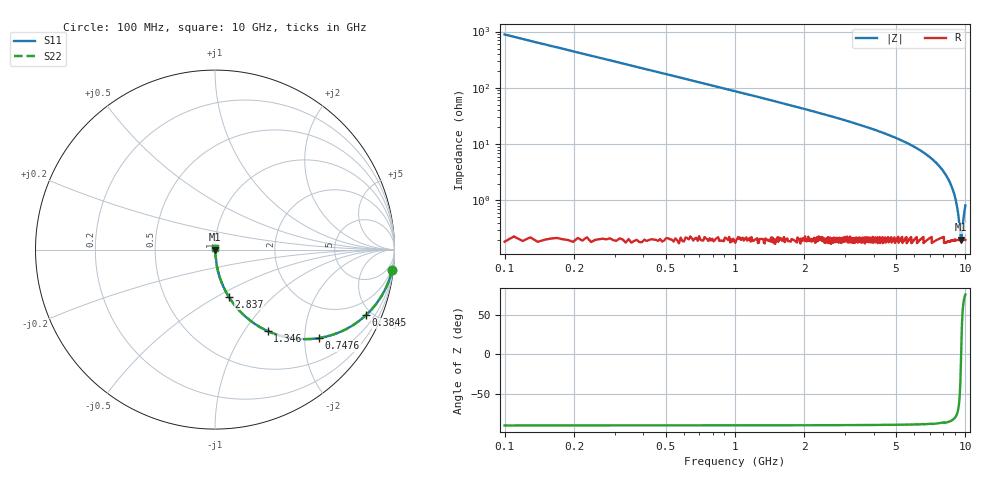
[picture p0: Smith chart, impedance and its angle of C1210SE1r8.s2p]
! AVX Thin Film Operation		Date: April 2012
! Description: Accu-P® Series, Thin Film, SMD, RF Capacitor
! Part Number: 12101J1R8PBTTR
!	100	MHz	-	10.05	GHz
!	Serial	Measurements
#	MHZ	S	MA	R	50
!	S11	S21	S12	S22
!	dB	Phase	dB	Phase	dB	Phase	dB	Phase
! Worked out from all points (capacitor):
!   1010 points, 100 MHz to 10 GHz, reference 50 ohm
!   read as one part in series: C = 1.8 pF near 149.1 MHz
!   lowest |Z| = 200 mohm at 9.578 GHz (marker M1)
!   series resonance near 9.581 GHz, so ESL is about 150 pH
!   S11 on the Smith chart (normalised r, x): 100 MHz: 1, -18; 384.5 MHz: 1.00, -4.59; 747.6 MHz: 1.00, -2.35; 1.346 GHz: 1.00, -1.29; 2.837 GHz: 1.00, -0.57; 10 GHz: 1.00, +0.02
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100  0.994 -6.5  0.112 83.5  0.112 83.5  0.994 -6.5
237.364  0.966 -15.0  0.259 74.9  0.259 74.9  0.966 -15.0
384.539  0.917 -23.5  0.399 66.4  0.399 66.4  0.917 -23.5
551.338  0.847 -32.0  0.53 57.9  0.53 57.9  0.847 -32.0
747.572  0.761 -40.3  0.647 49.6  0.647 49.6  0.761 -40.3
1032.111  0.645 -49.7  0.762 40.2  0.762 40.2  0.645 -49.7
1346.085  0.541 -57.1  0.84 32.7  0.84 32.7  0.541 -57.1
1758.176  0.436 -63.9  0.898 25.9  0.898 25.9  0.436 -63.9
2837.463  0.273 -73.8  0.96 15.8  0.96 15.8  0.273 -73.8
3406.541  0.221 -76.7  0.973 12.8  0.973 12.8  0.221 -76.7
5054.906  0.125 -81.9  0.99 7.2  0.99 7.2  0.125 -81.9
6703.271  0.067 -84.5  0.996 3.8  0.996 3.8  0.067 -84.5
7733.499  0.04 -84.8  0.997 2.3  0.997 2.3  0.04 -84.8
8351.635  0.025 -84.0  0.998 1.5  0.998 1.5  0.025 -84.0
8812.785  0.016 -81.7  0.998 0.9  0.998 0.9  0.016 -81.7
9087.512  0.00995 -77.9  0.998 0.6  0.998 0.6  0.00995 -77.9
9303.37  0.00577 -69.5  0.998 0.3  0.998 0.3  0.00577 -69.5
9519.227  0.00233 -30.8  0.998 0.1  0.998 0.1  0.00233 -30.8
9578.097  0.002 -1.6  0.998 0.0  0.998 0.0  0.002 -1.6
9636.967  0.00227 28.2  0.998 -0.1  0.998 -0.1  0.00227 28.2
9852.825  0.00553 68.5  0.998 -0.3  0.998 -0.3  0.00553 68.5
10000  0.00814 75.3  0.998 -0.5  0.998 -0.5  0.00814 75.3
